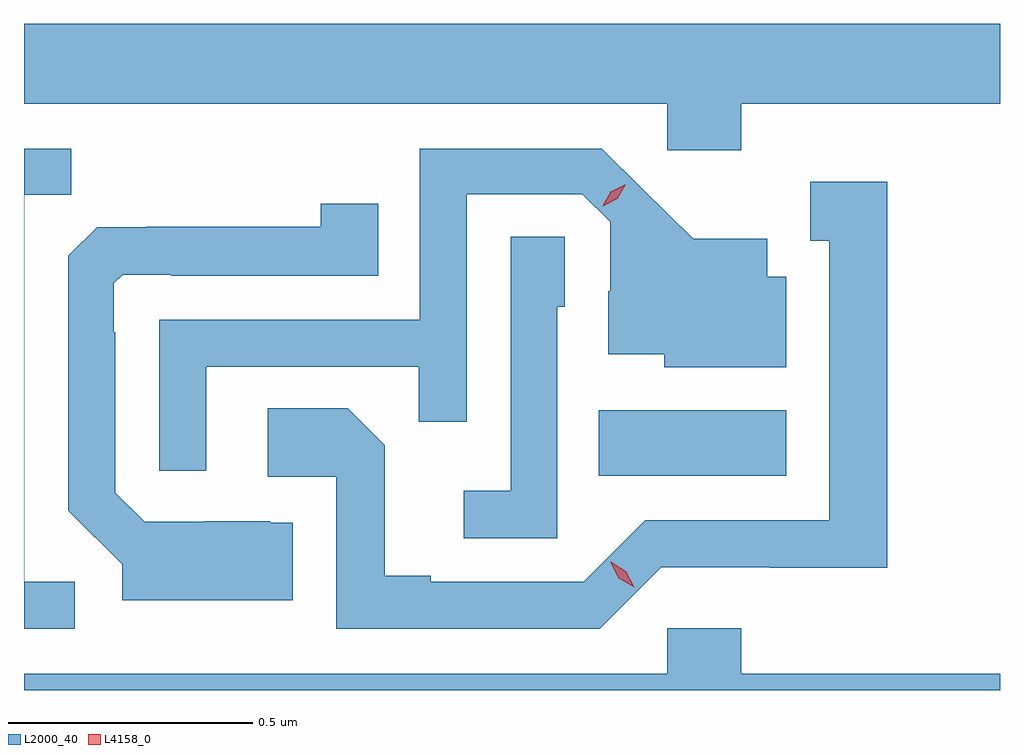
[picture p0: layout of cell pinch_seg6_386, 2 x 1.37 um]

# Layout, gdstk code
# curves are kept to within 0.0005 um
import gdstk
lib = gdstk.Library(unit=1e-6, precision=1e-09)
def R(c, l, rs):  # rectangles x0, y0, x1, y1
    for r in rs: c.add(gdstk.rectangle(r[:2], r[2:], *l))
def P(c, l, *ps):  # polygons
    for p in ps: c.add(gdstk.Polygon(p, *l))
L2000_40 = (2000, 40)
L4158_0 = (4158, 0)

pinch_seg6_386 = lib.new_cell('pinch_seg6_386')
R(pinch_seg6_386, L2000_40, [(659.956,953.234,660.34,953.368)])
P(pinch_seg6_386, L2000_40, [(660.248,953.996),(660.778,953.996),(660.778,954.16),(658.778,954.16),(658.778,953.996),(660.096,953.996),(660.096,953.901),(660.248,953.901)],
  [(659.151,953.457),(659.587,953.457),(659.587,953.344),(659.685,953.344),(659.685,953.811),(659.922,953.811),(659.979,953.754),(659.979,953.612),(659.975,953.612),(659.975,953.483),(660.09,953.483),(660.09,953.456),(660.34,953.456),(660.34,953.641),(660.301,953.641),(660.301,953.719),(660.149,953.719),(659.962,953.904),(659.589,953.904),(659.589,953.553),(659.055,953.553),(659.055,953.244),(659.151,953.244)],
  [(658.882,953.016),(658.779,953.016),(658.779,953.809),(658.875,953.809),(658.875,953.904),(658.778,953.904),(658.778,952.92),(658.882,952.92)],
  [(660.084,953.046),(660.306,953.046),(660.306,953.045),(660.547,953.045),(660.547,953.836),(660.389,953.836),(660.389,953.715),(660.428,953.715),(660.428,953.142),(660.051,953.142),(659.925,953.016),(659.611,953.016),(659.611,953.029),(659.517,953.029),(659.517,953.296),(659.441,953.372),(659.277,953.372),(659.277,953.232),(659.418,953.232),(659.418,952.92),(659.958,952.92)],
  [(659.329,953.137),(659.285,953.137),(659.282,953.14),(659.148,953.14),(659.148,953.139),(659.025,953.139),(658.965,953.199),(658.965,953.528),(658.962,953.528),(658.962,953.628),(658.98,953.646),(659.08,953.646),(659.08,953.643),(659.504,953.643),(659.504,953.791),(659.386,953.791),(659.386,953.744),(659.029,953.744),(659.029,953.743),(658.928,953.743),(658.869,953.684),(658.869,953.162),(658.979,953.052),(658.979,952.979),(659.329,952.979)],
  [(659.871,953.58),(659.886,953.58),(659.886,953.723),(659.775,953.723),(659.775,953.203),(659.679,953.203),(659.679,953.106),(659.871,953.106)],
  [(660.778,952.828),(660.248,952.828),(660.248,952.921),(660.096,952.921),(660.096,952.828),(658.778,952.828),(658.778,952.794),(660.778,952.794)])
P(pinch_seg6_386, L4158_0, [(660.028,953.005),(659.997,953.024),(659.979,953.057),(659.979,953.057),(659.98,953.057),(660.011,953.038),(660.028,953.005),(660.028,953.005)],
  [(659.964,953.786),(659.964,953.787),(659.98,953.816),(660.011,953.831),(660.011,953.831),(660.011,953.831),(659.994,953.801),(659.964,953.786)])

lib.write_gds('pinch_seg6_386.gds')
